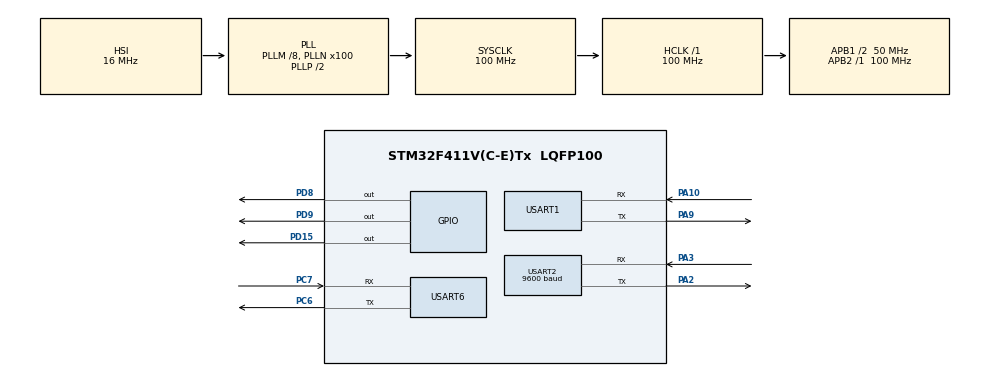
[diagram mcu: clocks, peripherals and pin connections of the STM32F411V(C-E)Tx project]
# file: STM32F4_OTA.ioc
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Mcu.Family=STM32F4
Mcu.Name=STM32F411V(C-E)Tx
Mcu.Package=LQFP100
NVIC.PriorityGroup=NVIC_PRIORITYGROUP_4
NVIC.USART1_IRQn=true\:0\:0\:false\:false\:true\:true\:true
NVIC.USART2_IRQn=true\:0\:0\:false\:false\:true\:true\:true
NVIC.USART6_IRQn=true\:0\:0\:false\:false\:true\:true\:true
PA10.Mode=Asynchronous
PA10.Signal=USART1_RX
PA13.Mode=Serial_Wire
PA13.Signal=SYS_JTMS-SWDIO
PA14.Mode=Serial_Wire
PA14.Signal=SYS_JTCK-SWCLK
PA2.Mode=Asynchronous
PA2.Signal=USART2_TX
PA3.Mode=Asynchronous
PA3.Signal=USART2_RX
PA9.Mode=Asynchronous
PA9.Signal=USART1_TX
PC6.Mode=Asynchronous
PC6.Signal=USART6_TX
PC7.Mode=Asynchronous
PC7.Signal=USART6_RX
PD15.Signal=GPIO_Output
PD8.Signal=GPIO_Output
PD9.Signal=GPIO_Output
PH0\ -\ OSC_IN.Mode=HSE-External-Oscillator
PH0\ -\ OSC_IN.Signal=RCC_OSC_IN
PH1\ -\ OSC_OUT.Mode=HSE-External-Oscillator
PH1\ -\ OSC_OUT.Signal=RCC_OSC_OUT
ProjectManager.HeapSize=0x200
ProjectManager.StackSize=0x400
ProjectManager.TargetToolchain=STM32CubeIDE
RCC.48MHZClocksFreq_Value=50000000
RCC.AHBFreq_Value=100000000
RCC.APB1CLKDivider=RCC_HCLK_DIV2
RCC.APB1Freq_Value=50000000
RCC.APB1TimFreq_Value=100000000
RCC.APB2Freq_Value=100000000
RCC.APB2TimFreq_Value=100000000
RCC.CortexFreq_Value=100000000
RCC.HCLKFreq_Value=100000000
RCC.HSE_VALUE=8000000
RCC.HSI_VALUE=16000000
RCC.LSE_VALUE=32768
RCC.PLLM=8
RCC.PLLN=100
RCC.SYSCLKFreq_VALUE=100000000
RCC.SYSCLKSource=RCC_SYSCLKSOURCE_PLLCLK
RCC.VCOOutputFreq_Value=200000000
USART1.VirtualMode=VM_ASYNC
USART2.BaudRate=9600
USART2.VirtualMode=VM_ASYNC
USART6.VirtualMode=VM_ASYNC
VP_CRC_VS_CRC.Mode=CRC_Activate
board=custom

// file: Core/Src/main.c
/* USER CODE BEGIN Header */
/**
  ******************************************************************************
  * @file           : main.c
  * @brief          : Main program body
  ******************************************************************************
  * @attention
  *
  * Copyright (c) 2022 STMicroelectronics.
  * All rights reserved.
  *
  * This software is licensed under terms that can be found in the LICENSE file
  * in the root directory of this software component.
  * If no LICENSE file comes with this software, it is provided AS-IS.
  *
  ******************************************************************************
  */
/* USER CODE END Header */
#include "main.h"

/* USER CODE BEGIN Includes */
#include "Frame.h"
/* USER CODE END Includes */

/* USER CODE BEGIN PM */
#define MAJOR 0   // BL Major version Number
#define MINOR 3   // BL Minor version Number
/* USER CODE END PM */

CRC_HandleTypeDef hcrc;

UART_HandleTypeDef huart1;
UART_HandleTypeDef huart2;
UART_HandleTypeDef huart6;

/* USER CODE BEGIN PV */
const uint8_t BL_Version[2] = { MAJOR, MINOR };
/* USER CODE END PV */

void SystemClock_Config(void);
static void MX_GPIO_Init(void);
static void MX_USART1_UART_Init(void);
static void MX_USART2_UART_Init(void);
static void MX_CRC_Init(void);
static void MX_USART6_UART_Init(void);
/* USER CODE BEGIN PFP */
static void goto_application( void );
/* USER CODE END PFP */

/* USER CODE BEGIN 0 */
uint8_t Sof;
uint8_t Type;
uint8_t DataLength;
uint8_t Command;
uint32_t Crc;
uint8_t Eof;

uint8_t rx_buf[3] = {0,};
uint8_t count = 0;
uint8_t flag  = 0;
uint8_t rx = 0;
static uint8_t status = 0;
uint8_t rx_header[15] = {0,};

uint32_t crc = 0;

void HAL_UART_RxCpltCallback(UART_HandleTypeDef *huart){
	if(huart->Instance == huart6.Instance){
			if(!strncmp("OTA",(char*)rx_buf, 3)){
				HAL_UART_Transmit(&huart2, rx_buf, 3, 1000);
				flag = 1;
			}
			else{
				HAL_UART_Receive_IT(&huart6, rx_buf, 3);
			}
			memset(rx_buf, 0, 3);
//		HAL_UART_Transmit(&huart2, rx_header, 19, 1000);
//		HAL_UART_Receive_IT(&huart6, rx_header, 19);
//		memset(rx_header, 0, 10);
	}
}

uint8_t size = 0;
uint8_t rxbuf1, rxbuf2, rxbuf3, rxbuf4, rxbuf5, rxbuf6;
uint8_t buf1[4];
uint8_t buf2[4];
uint8_t buf3[4];
uint8_t cx;
int datalen;
uint8_t bufff[19];
/* USER CODE END 0 */

int main(void)
{

  /* MCU Configuration--------------------------------------------------------*/

  /* Reset of all peripherals, Initializes the Flash interface and the Systick. */
  HAL_Init();

  /* Configure the system clock */
  SystemClock_Config();

  /* Initialize all configured peripherals */
  MX_GPIO_Init();
  MX_USART1_UART_Init();
  MX_USART2_UART_Init();
  MX_CRC_Init();
  MX_USART6_UART_Init();
  /* USER CODE BEGIN 2 */
  HAL_UART_Receive_IT(&huart6, rx_buf, 3);
//  HAL_UART_Receive_IT(&huart6, rx_header, 19);
  /* USER CODE END 2 */

  /* Infinite loop */
  while (1)
  {

    /* USER CODE BEGIN 3 */
	  if(flag == 1){
		  Frame_STM32OTA();
//		  Frame_SendResponseFrame(RESPONSE_ACK);
//		  HAL_UART_Receive(&huart6, bufff, DATA_FRAME_LENGHT, 1000);
//		  Frame_ReadDataFrame(bufff);

		  flag = 0;
		  HAL_UART_Receive_IT(&huart6, rx_buf, 3);
	  }

  }
  /* USER CODE END 3 */
}

void SystemClock_Config(void)
{
  RCC_OscInitTypeDef RCC_OscInitStruct = {0};
  RCC_ClkInitTypeDef RCC_ClkInitStruct = {0};

  /** Configure the main internal regulator output voltage
  */
  __HAL_RCC_PWR_CLK_ENABLE();
  __HAL_PWR_VOLTAGESCALING_CONFIG(PWR_REGULATOR_VOLTAGE_SCALE1);
  /** Initializes the RCC Oscillators according to the specified parameters
  * in the RCC_OscInitTypeDef structure.
  */
  RCC_OscInitStruct.OscillatorType = RCC_OSCILLATORTYPE_HSI;
  RCC_OscInitStruct.HSIState = RCC_HSI_ON;
  RCC_OscInitStruct.HSICalibrationValue = RCC_HSICALIBRATION_DEFAULT;
  RCC_OscInitStruct.PLL.PLLState = RCC_PLL_ON;
  RCC_OscInitStruct.PLL.PLLSource = RCC_PLLSOURCE_HSI;
  RCC_OscInitStruct.PLL.PLLM = 8;
  RCC_OscInitStruct.PLL.PLLN = 100;
  RCC_OscInitStruct.PLL.PLLP = RCC_PLLP_DIV2;
  RCC_OscInitStruct.PLL.PLLQ = 4;
  if (HAL_RCC_OscConfig(&RCC_OscInitStruct) != HAL_OK)
  {
    Error_Handler();
  }
  /** Initializes the CPU, AHB and APB buses clocks
  */
  RCC_ClkInitStruct.ClockType = RCC_CLOCKTYPE_HCLK|RCC_CLOCKTYPE_SYSCLK
                              |RCC_CLOCKTYPE_PCLK1|RCC_CLOCKTYPE_PCLK2;
  RCC_ClkInitStruct.SYSCLKSource = RCC_SYSCLKSOURCE_PLLCLK;
  RCC_ClkInitStruct.AHBCLKDivider = RCC_SYSCLK_DIV1;
  RCC_ClkInitStruct.APB1CLKDivider = RCC_HCLK_DIV2;
  RCC_ClkInitStruct.APB2CLKDivider = RCC_HCLK_DIV1;

  if (HAL_RCC_ClockConfig(&RCC_ClkInitStruct, FLASH_LATENCY_3) != HAL_OK)
  {
    Error_Handler();
  }
}

static void MX_CRC_Init(void)
{

  hcrc.Instance = CRC;
  if (HAL_CRC_Init(&hcrc) != HAL_OK)
  {
    Error_Handler();
  }

}

static void MX_USART1_UART_Init(void)
{

  huart1.Instance = USART1;
  huart1.Init.BaudRate = 115200;
  huart1.Init.WordLength = UART_WORDLENGTH_8B;
  huart1.Init.StopBits = UART_STOPBITS_1;
  huart1.Init.Parity = UART_PARITY_NONE;
  huart1.Init.Mode = UART_MODE_TX_RX;
  huart1.Init.HwFlowCtl = UART_HWCONTROL_NONE;
  huart1.Init.OverSampling = UART_OVERSAMPLING_16;
  if (HAL_UART_Init(&huart1) != HAL_OK)
  {
    Error_Handler();
  }

}

static void MX_USART2_UART_Init(void)
{

  huart2.Instance = USART2;
  huart2.Init.BaudRate = 9600;
  huart2.Init.WordLength = UART_WORDLENGTH_8B;
  huart2.Init.StopBits = UART_STOPBITS_1;
  huart2.Init.Parity = UART_PARITY_NONE;
  huart2.Init.Mode = UART_MODE_TX_RX;
  huart2.Init.HwFlowCtl = UART_HWCONTROL_NONE;
  huart2.Init.OverSampling = UART_OVERSAMPLING_16;
  if (HAL_UART_Init(&huart2) != HAL_OK)
  {
    Error_Handler();
  }

}

static void MX_USART6_UART_Init(void)
{

  huart6.Instance = USART6;
  huart6.Init.BaudRate = 115200;
  huart6.Init.WordLength = UART_WORDLENGTH_8B;
  huart6.Init.StopBits = UART_STOPBITS_1;
  huart6.Init.Parity = UART_PARITY_NONE;
  huart6.Init.Mode = UART_MODE_TX_RX;
  huart6.Init.HwFlowCtl = UART_HWCONTROL_NONE;
  huart6.Init.OverSampling = UART_OVERSAMPLING_16;
  if (HAL_UART_Init(&huart6) != HAL_OK)
  {
    Error_Handler();
  }

}

static void MX_GPIO_Init(void)
{
  GPIO_InitTypeDef GPIO_InitStruct = {0};

  /* GPIO Ports Clock Enable */
  __HAL_RCC_GPIOH_CLK_ENABLE();
  __HAL_RCC_GPIOA_CLK_ENABLE();
  __HAL_RCC_GPIOD_CLK_ENABLE();
  __HAL_RCC_GPIOC_CLK_ENABLE();

  /*Configure GPIO pin Output Level */
  HAL_GPIO_WritePin(GPIOD, GPIO_PIN_8|GPIO_PIN_9|GPIO_PIN_15, GPIO_PIN_RESET);

  /*Configure GPIO pins : PD8 PD9 PD15 */
  GPIO_InitStruct.Pin = GPIO_PIN_8|GPIO_PIN_9|GPIO_PIN_15;
  GPIO_InitStruct.Mode = GPIO_MODE_OUTPUT_PP;
  GPIO_InitStruct.Pull = GPIO_NOPULL;
  GPIO_InitStruct.Speed = GPIO_SPEED_FREQ_LOW;
  HAL_GPIO_Init(GPIOD, &GPIO_InitStruct);

}

/* USER CODE BEGIN 4 */
/**
  * @brief Print the characters to UART (printf).
  * @retval int
  */
#ifdef __GNUC__
  /* With GCC, small printf (option LD Linker->Libraries->Small printf
     set to 'Yes') calls __io_putchar() */
int __io_putchar(int ch)
#else
int fputc(int ch, FILE *f)
#endif /* __GNUC__ */
{
  /* Place your implementation of fputc here */
  /* e.g. write a character to the UART3 and Loop until the end of transmission */
  HAL_UART_Transmit(&huart2, (uint8_t *)&ch, 1, HAL_MAX_DELAY);

  return ch;
}
/**
  * @brief Jump to application from the Bootloader
  * @retval None
  */
static void goto_application(void)
{
  printf("Gonna Jump to Application\r\n");

//  void (*app_reset_handler)(void) = (void*)(*((volatile uint32_t*) (ETX_APP_FLASH_ADDR + 4U)));

  //__set_MSP(*(volatile uint32_t*) ETX_APP_FLASH_ADDR);

  // Turn OFF the Green Led to tell the user that Bootloader is not running
  HAL_GPIO_WritePin(GPIOB, GPIO_PIN_0, GPIO_PIN_RESET );    //Green LED OFF
  app_reset_handler();    //call the app reset handler
}
/* USER CODE END 4 */

void Error_Handler(void)
{
  __disable_irq();
  while (1)
  {
  }
}
